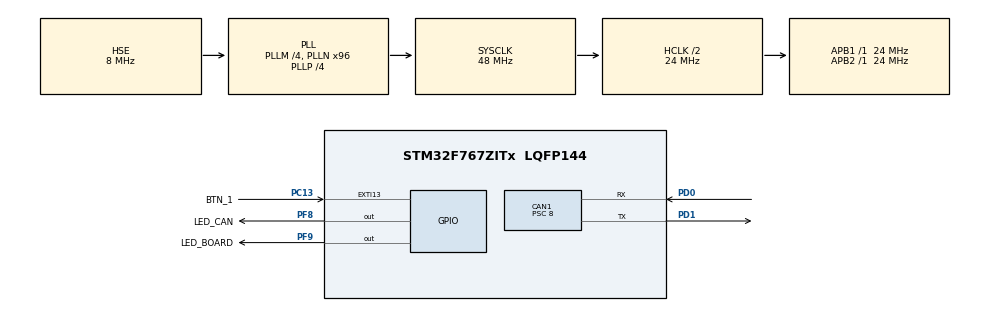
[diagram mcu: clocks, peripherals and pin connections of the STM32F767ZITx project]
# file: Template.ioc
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CAN1.BS1=CAN_BS1_2TQ
CAN1.BS2=CAN_BS2_3TQ
CAN1.CalculateBaudRate=500000
CAN1.CalculateTimeBit=2000
CAN1.CalculateTimeQuantum=333.3333333333333
CAN1.Prescaler=8
CAN1.SJW=CAN_SJW_2TQ
CORTEX_M7.default_mode_Activation=1
Mcu.Family=STM32F7
Mcu.Name=STM32F767ZITx
Mcu.Package=LQFP144
NVIC.CAN1_RX0_IRQn=true\:0\:0\:false\:false\:true\:true\:true\:true
NVIC.EXTI15_10_IRQn=true\:0\:0\:false\:false\:true\:true\:true\:true
NVIC.PriorityGroup=NVIC_PRIORITYGROUP_4
NVIC.TIM2_IRQn=true\:0\:0\:false\:false\:true\:true\:true\:true
NVIC.TIM3_IRQn=true\:0\:0\:false\:false\:true\:true\:true\:true
PC13.GPIO_Label=BTN_1
PC13.GPIO_ModeDefaultEXTI=GPIO_MODE_IT_FALLING
PC13.GPIO_PuPd=GPIO_PULLUP
PC13.Signal=GPXTI13
PD0.GPIO_PuPd=GPIO_PULLUP
PD0.Mode=CAN_Activate
PD0.Signal=CAN1_RX
PD1.Mode=CAN_Activate
PD1.Signal=CAN1_TX
PF8.GPIO_Label=LED_CAN
PF8.Signal=GPIO_Output
PF9.GPIO_Label=LED_BOARD
PF9.Signal=GPIO_Output
PH0/OSC_IN.Mode=HSE-External-Oscillator
PH0/OSC_IN.Signal=RCC_OSC_IN
PH1/OSC_OUT.Mode=HSE-External-Oscillator
PH1/OSC_OUT.Signal=RCC_OSC_OUT
ProjectManager.HeapSize=0x200
ProjectManager.StackSize=0x400
ProjectManager.TargetToolchain=STM32CubeIDE
RCC.AHBCLKDivider=RCC_SYSCLK_DIV2
RCC.AHBFreq_Value=24000000
RCC.APB1Freq_Value=24000000
RCC.APB1TimFreq_Value=24000000
RCC.APB2Freq_Value=24000000
RCC.APB2TimFreq_Value=24000000
RCC.CortexFreq_Value=24000000
RCC.HCLKFreq_Value=24000000
RCC.HSE_VALUE=8000000
RCC.HSI_VALUE=16000000
RCC.LSE_VALUE=32768
RCC.PLLM=4
RCC.PLLN=96
RCC.PLLP=RCC_PLLP_DIV4
RCC.PLLSourceVirtual=RCC_PLLSOURCE_HSE
RCC.SYSCLKFreq_VALUE=48000000
RCC.SYSCLKSource=RCC_SYSCLKSOURCE_PLLCLK
RCC.USBFreq_Value=96000000
RCC.VCOOutputFreq_Value=192000000
TIM2.Period=1000000
TIM2.Prescaler=24
TIM3.Period=100
TIM3.Prescaler=24000
VP_TIM2_VS_ClockSourceINT.Mode=Internal
VP_TIM3_VS_ClockSourceINT.Mode=Internal
board=custom

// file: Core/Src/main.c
/* USER CODE BEGIN Header */
/**
  ******************************************************************************
  * @file           : main.c
  * @brief          : Main program body
  ******************************************************************************
  * @attention
  *
  * Copyright (c) 2024 STMicroelectronics.
  * All rights reserved.
  *
  * This software is licensed under terms that can be found in the LICENSE file
  * in the root directory of this software component.
  * If no LICENSE file comes with this software, it is provided AS-IS.
  *
  ******************************************************************************
  */
/**
  ******************************************************************************
  * @attention
  * Message from the software team:
  * - For main.c file, DO NOT add code outside of the USER CODE BEGIN - USER CODE END block
  * as it will be overwritten or deleted during code generation.
  ******************************************************************************
  *
*/
/* USER CODE END Header */
#include "main.h"

/* USER CODE BEGIN Includes */
#include "can_params.h"
#include "can.h"
/* USER CODE END Includes */

/* USER CODE BEGIN PD */

#define BOARD_CAN_ID (uint8_t)0x105
#define BOARD_TYPE_ID 0
#define BOARD_TTL 10

/* USER CODE END PD */

CAN_HandleTypeDef hcan1;

TIM_HandleTypeDef htim2;
TIM_HandleTypeDef htim3;

/* USER CODE BEGIN PV */

uint32_t TxMailbox;

can_params_t global_vehicle_parameters;
can_config_t vehicle_can_config;

/* USER CODE END PV */

void SystemClock_Config(void);
static void MPU_Config(void);
static void MX_GPIO_Init(void);
static void MX_CAN1_Init(void);
static void MX_TIM2_Init(void);
static void MX_TIM3_Init(void);

int main(void)
{

  /* MPU Configuration--------------------------------------------------------*/
  MPU_Config();

  /* MCU Configuration--------------------------------------------------------*/

  /* Reset of all peripherals, Initializes the Flash interface and the Systick. */
  HAL_Init();

  /* Configure the system clock */
  SystemClock_Config();

  /* Initialize all configured peripherals */
  MX_GPIO_Init();
  MX_CAN1_Init();
  MX_TIM2_Init();
  MX_TIM3_Init();
  /* USER CODE BEGIN 2 */

  // Start the CAN peripheral
  HAL_CAN_Start(&hcan1);

  // Turn on interupt for hcan to receive messages on the buffer
  HAL_CAN_ActivateNotification(&hcan1, CAN_IT_RX_FIFO0_MSG_PENDING);

  vehicle_can_config.errors.present = 0;
  vehicle_can_config.gv_params = &global_vehicle_parameters;
  vehicle_can_config.can_id = BOARD_CAN_ID;
  vehicle_can_config.board_type_id = BOARD_TYPE_ID;
  vehicle_can_config.ttl = BOARD_TTL;
  sw3_can_init(&hcan1, &vehicle_can_config);
  int counter = HAL_GetTick();

  /* USER CODE END 2 */

  /* Infinite loop */
  /* USER CODE BEGIN WHILE */
  while (1)
  {
    // Content of the while loop here
    /* USER CODE END WHILE */
	if (HAL_GetTick() > counter + 500) {
		counter = HAL_GetTick();
		global_vehicle_parameters.led.value = !global_vehicle_parameters.led.value;
		HAL_GPIO_TogglePin(LED_CAN_GPIO_Port, LED_CAN_Pin);
	}
    /* USER CODE BEGIN 3 */
    sw3_can_loop();
  }
  /* USER CODE END 3 */
}

void SystemClock_Config(void)
{
  RCC_OscInitTypeDef RCC_OscInitStruct = {0};
  RCC_ClkInitTypeDef RCC_ClkInitStruct = {0};

  /** Configure the main internal regulator output voltage
  */
  __HAL_RCC_PWR_CLK_ENABLE();
  __HAL_PWR_VOLTAGESCALING_CONFIG(PWR_REGULATOR_VOLTAGE_SCALE3);

  /** Initializes the RCC Oscillators according to the specified parameters
  * in the RCC_OscInitTypeDef structure.
  */
  RCC_OscInitStruct.OscillatorType = RCC_OSCILLATORTYPE_HSE;
  RCC_OscInitStruct.HSEState = RCC_HSE_ON;
  RCC_OscInitStruct.PLL.PLLState = RCC_PLL_ON;
  RCC_OscInitStruct.PLL.PLLSource = RCC_PLLSOURCE_HSE;
  RCC_OscInitStruct.PLL.PLLM = 4;
  RCC_OscInitStruct.PLL.PLLN = 96;
  RCC_OscInitStruct.PLL.PLLP = RCC_PLLP_DIV4;
  RCC_OscInitStruct.PLL.PLLQ = 2;
  RCC_OscInitStruct.PLL.PLLR = 2;
  if (HAL_RCC_OscConfig(&RCC_OscInitStruct) != HAL_OK)
  {
    Error_Handler();
  }

  /** Initializes the CPU, AHB and APB buses clocks
  */
  RCC_ClkInitStruct.ClockType = RCC_CLOCKTYPE_HCLK|RCC_CLOCKTYPE_SYSCLK
                              |RCC_CLOCKTYPE_PCLK1|RCC_CLOCKTYPE_PCLK2;
  RCC_ClkInitStruct.SYSCLKSource = RCC_SYSCLKSOURCE_PLLCLK;
  RCC_ClkInitStruct.AHBCLKDivider = RCC_SYSCLK_DIV2;
  RCC_ClkInitStruct.APB1CLKDivider = RCC_HCLK_DIV1;
  RCC_ClkInitStruct.APB2CLKDivider = RCC_HCLK_DIV1;

  if (HAL_RCC_ClockConfig(&RCC_ClkInitStruct, FLASH_LATENCY_0) != HAL_OK)
  {
    Error_Handler();
  }
}

static void MX_CAN1_Init(void)
{

  hcan1.Instance = CAN1;
  hcan1.Init.Prescaler = 8;
  hcan1.Init.Mode = CAN_MODE_NORMAL;
  hcan1.Init.SyncJumpWidth = CAN_SJW_2TQ;
  hcan1.Init.TimeSeg1 = CAN_BS1_2TQ;
  hcan1.Init.TimeSeg2 = CAN_BS2_3TQ;
  hcan1.Init.TimeTriggeredMode = DISABLE;
  hcan1.Init.AutoBusOff = DISABLE;
  hcan1.Init.AutoWakeUp = DISABLE;
  hcan1.Init.AutoRetransmission = DISABLE;
  hcan1.Init.ReceiveFifoLocked = DISABLE;
  hcan1.Init.TransmitFifoPriority = DISABLE;
  if (HAL_CAN_Init(&hcan1) != HAL_OK)
  {
    Error_Handler();
  }
  /* USER CODE BEGIN CAN1_Init 2 */
  CAN_FilterTypeDef canfilterconfig;

  canfilterconfig.FilterActivation = CAN_FILTER_ENABLE;
  canfilterconfig.FilterBank = 18;  // which filter bank to use from the assigned ones
  canfilterconfig.FilterFIFOAssignment = CAN_FILTER_FIFO0;
  canfilterconfig.FilterIdHigh = 0x000<<5; // 0x001
  canfilterconfig.FilterIdLow = 0;
  canfilterconfig.FilterMaskIdHigh = 0x000<<5; // 0x001
  canfilterconfig.FilterMaskIdLow = 0x0000;
  canfilterconfig.FilterMode = CAN_FILTERMODE_IDMASK;
  canfilterconfig.FilterScale = CAN_FILTERSCALE_32BIT;
  canfilterconfig.SlaveStartFilterBank = 20;  // how many filters to assign to the CAN1 (master can)

  HAL_CAN_ConfigFilter(&hcan1, &canfilterconfig);
  /* USER CODE END CAN1_Init 2 */

}

static void MX_TIM2_Init(void)
{

  TIM_ClockConfigTypeDef sClockSourceConfig = {0};
  TIM_MasterConfigTypeDef sMasterConfig = {0};

  htim2.Instance = TIM2;
  htim2.Init.Prescaler = 24;
  htim2.Init.CounterMode = TIM_COUNTERMODE_UP;
  htim2.Init.Period = 1000000;
  htim2.Init.ClockDivision = TIM_CLOCKDIVISION_DIV1;
  htim2.Init.AutoReloadPreload = TIM_AUTORELOAD_PRELOAD_DISABLE;
  if (HAL_TIM_Base_Init(&htim2) != HAL_OK)
  {
    Error_Handler();
  }
  sClockSourceConfig.ClockSource = TIM_CLOCKSOURCE_INTERNAL;
  if (HAL_TIM_ConfigClockSource(&htim2, &sClockSourceConfig) != HAL_OK)
  {
    Error_Handler();
  }
  sMasterConfig.MasterOutputTrigger = TIM_TRGO_RESET;
  sMasterConfig.MasterSlaveMode = TIM_MASTERSLAVEMODE_DISABLE;
  if (HAL_TIMEx_MasterConfigSynchronization(&htim2, &sMasterConfig) != HAL_OK)
  {
    Error_Handler();
  }

}

static void MX_TIM3_Init(void)
{

  TIM_ClockConfigTypeDef sClockSourceConfig = {0};
  TIM_MasterConfigTypeDef sMasterConfig = {0};

  htim3.Instance = TIM3;
  htim3.Init.Prescaler = 24000;
  htim3.Init.CounterMode = TIM_COUNTERMODE_UP;
  htim3.Init.Period = 100;
  htim3.Init.ClockDivision = TIM_CLOCKDIVISION_DIV1;
  htim3.Init.AutoReloadPreload = TIM_AUTORELOAD_PRELOAD_DISABLE;
  if (HAL_TIM_Base_Init(&htim3) != HAL_OK)
  {
    Error_Handler();
  }
  sClockSourceConfig.ClockSource = TIM_CLOCKSOURCE_INTERNAL;
  if (HAL_TIM_ConfigClockSource(&htim3, &sClockSourceConfig) != HAL_OK)
  {
    Error_Handler();
  }
  sMasterConfig.MasterOutputTrigger = TIM_TRGO_RESET;
  sMasterConfig.MasterSlaveMode = TIM_MASTERSLAVEMODE_DISABLE;
  if (HAL_TIMEx_MasterConfigSynchronization(&htim3, &sMasterConfig) != HAL_OK)
  {
    Error_Handler();
  }

}

static void MX_GPIO_Init(void)
{
  GPIO_InitTypeDef GPIO_InitStruct = {0};

  /* GPIO Ports Clock Enable */
  __HAL_RCC_GPIOC_CLK_ENABLE();
  __HAL_RCC_GPIOF_CLK_ENABLE();
  __HAL_RCC_GPIOH_CLK_ENABLE();
  __HAL_RCC_GPIOD_CLK_ENABLE();

  /*Configure GPIO pin Output Level */
  HAL_GPIO_WritePin(GPIOF, LED_CAN_Pin|LED_BOARD_Pin, GPIO_PIN_RESET);

  /*Configure GPIO pin : BTN_1_Pin */
  GPIO_InitStruct.Pin = BTN_1_Pin;
  GPIO_InitStruct.Mode = GPIO_MODE_IT_FALLING;
  GPIO_InitStruct.Pull = GPIO_PULLUP;
  HAL_GPIO_Init(BTN_1_GPIO_Port, &GPIO_InitStruct);

  /*Configure GPIO pins : LED_CAN_Pin LED_BOARD_Pin */
  GPIO_InitStruct.Pin = LED_CAN_Pin|LED_BOARD_Pin;
  GPIO_InitStruct.Mode = GPIO_MODE_OUTPUT_PP;
  GPIO_InitStruct.Pull = GPIO_NOPULL;
  GPIO_InitStruct.Speed = GPIO_SPEED_FREQ_LOW;
  HAL_GPIO_Init(GPIOF, &GPIO_InitStruct);

  /* EXTI interrupt init*/
  HAL_NVIC_SetPriority(EXTI15_10_IRQn, 0, 0);
  HAL_NVIC_EnableIRQ(EXTI15_10_IRQn);

}

 /* MPU Configuration */

void MPU_Config(void)
{
  MPU_Region_InitTypeDef MPU_InitStruct = {0};

  /* Disables the MPU */
  HAL_MPU_Disable();

  /** Initializes and configures the Region and the memory to be protected
  */
  MPU_InitStruct.Enable = MPU_REGION_ENABLE;
  MPU_InitStruct.Number = MPU_REGION_NUMBER0;
  MPU_InitStruct.BaseAddress = 0x0;
  MPU_InitStruct.Size = MPU_REGION_SIZE_4GB;
  MPU_InitStruct.SubRegionDisable = 0x87;
  MPU_InitStruct.TypeExtField = MPU_TEX_LEVEL0;
  MPU_InitStruct.AccessPermission = MPU_REGION_NO_ACCESS;
  MPU_InitStruct.DisableExec = MPU_INSTRUCTION_ACCESS_DISABLE;
  MPU_InitStruct.IsShareable = MPU_ACCESS_SHAREABLE;
  MPU_InitStruct.IsCacheable = MPU_ACCESS_NOT_CACHEABLE;
  MPU_InitStruct.IsBufferable = MPU_ACCESS_NOT_BUFFERABLE;

  HAL_MPU_ConfigRegion(&MPU_InitStruct);
  /* Enables the MPU */
  HAL_MPU_Enable(MPU_PRIVILEGED_DEFAULT);

}

void Error_Handler(void)
{
  __disable_irq();
  while (1)
  {
  }
}
